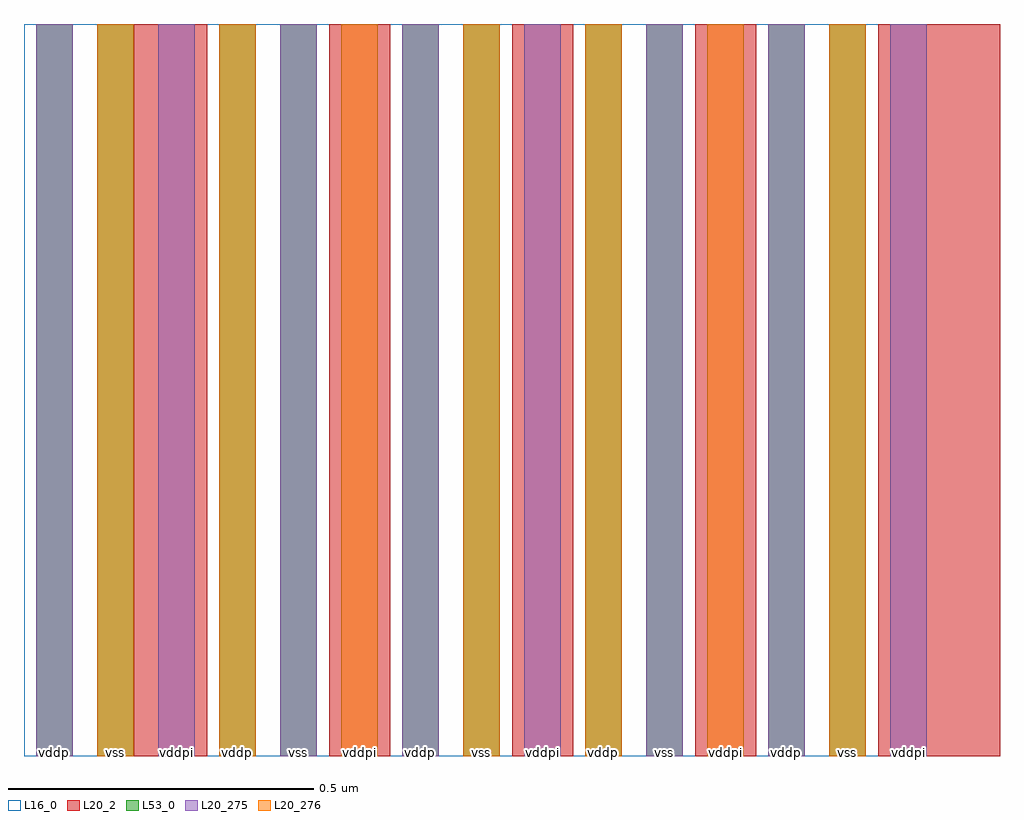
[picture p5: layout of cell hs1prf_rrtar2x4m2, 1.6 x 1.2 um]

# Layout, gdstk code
import gdstk
lib = gdstk.Library(unit=1e-6, precision=5e-10)
def R(c, l, rs):  # rectangles x0, y0, x1, y1
    for r in rs: c.add(gdstk.rectangle(r[:2], r[2:], *l))
def A(c, l, x, y, w, h, nx, ny, dx, dy):  # array of equal rectangles
    R(c, l, [(x+i*dx, y+j*dy, x+i*dx+w, y+j*dy+h) for i in range(nx) for j in range(ny)])
L16_0 = (16, 0)
L20_2 = (20, 2)
L20_275 = (20, 275)
L20_276 = (20, 276)
L53_0 = (53, 0)

hs1prf_rrtar2x4m2 = lib.new_cell('hs1prf_rrtar2x4m2')
R(hs1prf_rrtar2x4m2, L16_0, [(0,0,1.6,1.2)])
A(hs1prf_rrtar2x4m2, L20_2, 0.5, 0, 0.1, 1.2, 3, 1, 0.3, 0)
R(hs1prf_rrtar2x4m2, L20_2, [(0.18,0,0.3,1.2), (1.4,0,1.6,1.2)])
R(hs1prf_rrtar2x4m2, L53_0, [(0.02,0,0.08,1.2), (0.12,0,0.18,1.2), (0.32,0,0.38,1.2), (0.42,0,0.48,1.2), (0.62,0,0.68,1.2), (0.72,0,0.78,1.2), (0.92,0,0.98,1.2), (1.02,0,1.08,1.2), (1.22,0,1.28,1.2), (1.32,0,1.38,1.2)])
hs1prf_rrtar2x4m2.add(gdstk.FlexPath([(0.05,0),(0.05,1.2)], 0.06, ends="flush", simple_path=True, layer=20, datatype=275))  # L20_275
hs1prf_rrtar2x4m2.add(gdstk.FlexPath([(0.15,0),(0.15,1.2)], 0.06, ends="flush", simple_path=True, layer=20, datatype=276))  # L20_276
hs1prf_rrtar2x4m2.add(gdstk.FlexPath([(0.25,0),(0.25,1.2)], 0.06, ends="flush", simple_path=True, layer=20, datatype=275))  # L20_275
hs1prf_rrtar2x4m2.add(gdstk.FlexPath([(0.35,0),(0.35,1.2)], 0.06, ends="flush", simple_path=True, layer=20, datatype=276))  # L20_276
hs1prf_rrtar2x4m2.add(gdstk.FlexPath([(0.45,0),(0.45,1.2)], 0.06, ends="flush", simple_path=True, layer=20, datatype=275))  # L20_275
hs1prf_rrtar2x4m2.add(gdstk.FlexPath([(0.55,0),(0.55,1.2)], 0.06, ends="flush", simple_path=True, layer=20, datatype=276))  # L20_276
hs1prf_rrtar2x4m2.add(gdstk.FlexPath([(0.65,0),(0.65,1.2)], 0.06, ends="flush", simple_path=True, layer=20, datatype=275))  # L20_275
hs1prf_rrtar2x4m2.add(gdstk.FlexPath([(0.75,0),(0.75,1.2)], 0.06, ends="flush", simple_path=True, layer=20, datatype=276))  # L20_276
hs1prf_rrtar2x4m2.add(gdstk.FlexPath([(0.85,0),(0.85,1.2)], 0.06, ends="flush", simple_path=True, layer=20, datatype=275))  # L20_275
hs1prf_rrtar2x4m2.add(gdstk.FlexPath([(0.95,0),(0.95,1.2)], 0.06, ends="flush", simple_path=True, layer=20, datatype=276))  # L20_276
hs1prf_rrtar2x4m2.add(gdstk.FlexPath([(1.05,0),(1.05,1.2)], 0.06, ends="flush", simple_path=True, layer=20, datatype=275))  # L20_275
hs1prf_rrtar2x4m2.add(gdstk.FlexPath([(1.15,0),(1.15,1.2)], 0.06, ends="flush", simple_path=True, layer=20, datatype=276))  # L20_276
hs1prf_rrtar2x4m2.add(gdstk.FlexPath([(1.25,0),(1.25,1.2)], 0.06, ends="flush", simple_path=True, layer=20, datatype=275))  # L20_275
hs1prf_rrtar2x4m2.add(gdstk.FlexPath([(1.35,0),(1.35,1.2)], 0.06, ends="flush", simple_path=True, layer=20, datatype=276))  # L20_276
hs1prf_rrtar2x4m2.add(gdstk.FlexPath([(1.45,0),(1.45,1.2)], 0.06, ends="flush", simple_path=True, layer=20, datatype=275))  # L20_275
hs1prf_rrtar2x4m2.add(gdstk.Label('vddp', (0.05,0.005), layer=60, texttype=0))
hs1prf_rrtar2x4m2.add(gdstk.Label('vss', (0.15,0.005), layer=60, texttype=0))
hs1prf_rrtar2x4m2.add(gdstk.Label('vddpi', (0.25,0.005), layer=60, texttype=0))
hs1prf_rrtar2x4m2.add(gdstk.Label('vddp', (0.35,0.005), layer=60, texttype=0))
hs1prf_rrtar2x4m2.add(gdstk.Label('vss', (0.45,0.005), layer=60, texttype=0))
hs1prf_rrtar2x4m2.add(gdstk.Label('vddpi', (0.55,0.005), layer=60, texttype=0))
hs1prf_rrtar2x4m2.add(gdstk.Label('vddp', (0.65,0.005), layer=60, texttype=0))
hs1prf_rrtar2x4m2.add(gdstk.Label('vss', (0.75,0.005), layer=60, texttype=0))
hs1prf_rrtar2x4m2.add(gdstk.Label('vddpi', (0.85,0.005), layer=60, texttype=0))
hs1prf_rrtar2x4m2.add(gdstk.Label('vddp', (0.95,0.005), layer=60, texttype=0))
hs1prf_rrtar2x4m2.add(gdstk.Label('vss', (1.05,0.005), layer=60, texttype=0))
hs1prf_rrtar2x4m2.add(gdstk.Label('vddpi', (1.15,0.005), layer=60, texttype=0))
hs1prf_rrtar2x4m2.add(gdstk.Label('vddp', (1.25,0.005), layer=60, texttype=0))
hs1prf_rrtar2x4m2.add(gdstk.Label('vss', (1.35,0.005), layer=60, texttype=0))
hs1prf_rrtar2x4m2.add(gdstk.Label('vddpi', (1.45,0.005), layer=60, texttype=0))

lib.write_gds('hs1prf_rrtar2x4m2.gds')
